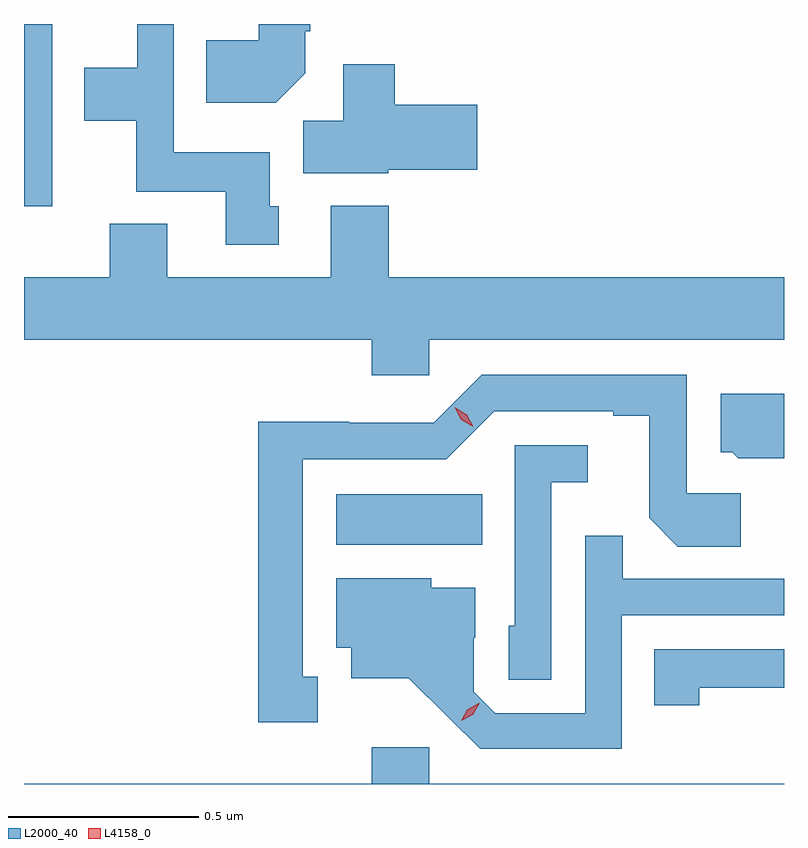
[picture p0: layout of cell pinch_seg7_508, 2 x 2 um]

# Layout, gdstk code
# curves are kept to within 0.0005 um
import gdstk
lib = gdstk.Library(unit=1e-6, precision=1e-09)
def R(c, l, rs):  # rectangles x0, y0, x1, y1
    for r in rs: c.add(gdstk.rectangle(r[:2], r[2:], *l))
def P(c, l, *ps):  # polygons
    for p in ps: c.add(gdstk.Polygon(p, *l))
L2000_40 = (2000, 40)
L4158_0 = (4158, 0)

pinch_seg7_508 = lib.new_cell('pinch_seg7_508')
R(pinch_seg7_508, L2000_40, [(234.164,1074.668,234.548,1074.802), (233.342,1075.56,233.416,1076.039)])
P(pinch_seg7_508, L2000_40, [(234.082,1075.91),(234.082,1076.02),(234.095,1076.02),(234.095,1076.039),(233.96,1076.039),(233.96,1075.996),(233.821,1075.996),(233.821,1075.832),(234.004,1075.832)],
  [(234.013,1075.56),(233.989,1075.56),(233.989,1075.702),(233.736,1075.702),(233.736,1076.039),(233.64,1076.039),(233.64,1075.924),(233.501,1075.924),(233.501,1075.784),(233.638,1075.784),(233.638,1075.598),(233.873,1075.598),(233.873,1075.458),(234.013,1075.458)],
  [(234.3,1075.655),(234.535,1075.655),(234.535,1075.826),(234.317,1075.826),(234.317,1075.933),(234.182,1075.933),(234.182,1075.784),(234.077,1075.784),(234.077,1075.646),(234.3,1075.646)],
  [(234.408,1075.208),(235.342,1075.208),(235.342,1075.372),(234.302,1075.372),(234.302,1075.561),(234.149,1075.561),(234.149,1075.372),(233.719,1075.372),(233.719,1075.513),(233.567,1075.513),(233.567,1075.372),(233.342,1075.372),(233.342,1075.208),(234.257,1075.208),(234.257,1075.115),(234.408,1075.115)],
  [(234.115,1074.321),(234.076,1074.321),(234.076,1074.894),(234.453,1074.894),(234.579,1075.02),(234.893,1075.02),(234.893,1075.008),(234.987,1075.008),(234.987,1074.74),(235.063,1074.664),(235.228,1074.664),(235.228,1074.804),(235.086,1074.804),(235.086,1075.116),(234.546,1075.116),(234.42,1074.99),(234.198,1074.99),(234.198,1074.992),(233.958,1074.992),(233.958,1074.201),(234.115,1074.201)],
  [(235.342,1075.066),(235.175,1075.066),(235.175,1074.912),(235.206,1074.912),(235.222,1074.896),(235.342,1074.896)],
  [(234.729,1074.833),(234.826,1074.833),(234.826,1074.93),(234.633,1074.93),(234.633,1074.456),(234.618,1074.456),(234.618,1074.313),(234.729,1074.313)],
  [(234.915,1074.483),(235.342,1074.483),(235.342,1074.579),(234.917,1074.579),(234.917,1074.692),(234.819,1074.692),(234.819,1074.225),(234.582,1074.225),(234.525,1074.282),(234.525,1074.424),(234.529,1074.424),(234.529,1074.556),(234.414,1074.556),(234.414,1074.58),(234.164,1074.58),(234.164,1074.398),(234.203,1074.398),(234.203,1074.317),(234.355,1074.317),(234.542,1074.132),(234.915,1074.132)],
  [(235.119,1074.292),(235.342,1074.292),(235.342,1074.393),(235,1074.393),(235,1074.246),(235.119,1074.246)],
  [(235.342,1074.04),(234.408,1074.04),(234.408,1074.136),(234.257,1074.136),(234.257,1074.04),(233.342,1074.04),(233.342,1074.039),(235.342,1074.039)])
P(pinch_seg7_508, L4158_0, [(234.492,1074.205),(234.492,1074.206),(234.509,1074.235),(234.539,1074.251),(234.54,1074.251),(234.54,1074.25),(234.523,1074.221),(234.493,1074.205)],
  [(234.524,1074.979),(234.492,1074.997),(234.475,1075.03),(234.475,1075.03),(234.475,1075.03),(234.507,1075.011),(234.524,1074.979),(234.524,1074.979)])

lib.write_gds('pinch_seg7_508.gds')
